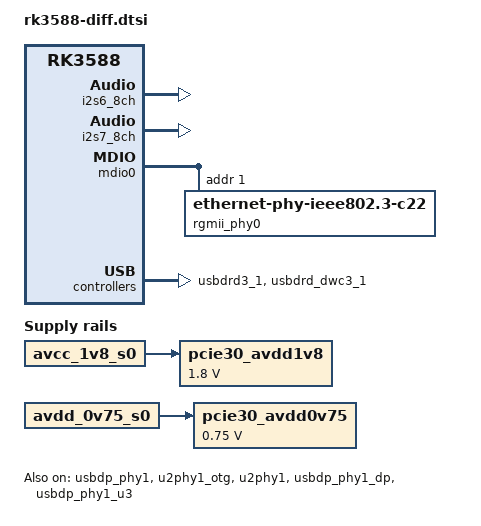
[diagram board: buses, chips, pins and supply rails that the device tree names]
// SPDX-License-Identifier: (GPL-2.0+ OR MIT)
/*
 * Copyright (c) 2020 Rockchip Electronics Co., Ltd.
 */

/*
 * fork from arch/arm64/boot/dts/rockchip/rk3588-firefly-port.dtsi
 */

/ {
	vcc_hub3_reset: vcc-hub3-reset-regulator {
		compatible = "regulator-fixed";
		regulator-name = "vcc_hub3_reset";
		regulator-always-on;
		enable-active-high;
		status = "disabled";
		gpio = <&pca9555 PCA_IO0_6 GPIO_ACTIVE_HIGH>;  //PCA_IO 06
	};

	vcc5v0_host3: vcc5v0-host3 {
		compatible = "regulator-fixed";
		regulator-name = "vcc5v0_host3";
		regulator-boot-on;
		regulator-always-on;
		regulator-min-microvolt = <5000000>;
		regulator-max-microvolt = <5000000>;
		enable-active-high;
		gpio = <&pca9555 PCA_IO0_7 GPIO_ACTIVE_HIGH>;  //PCA_IO 07
		vin-supply = <&vcc5v0_usb>;
		status = "disabled";
	};

	vcc_sata_pwr_en: vcc-sata-pwr-en-regulator {
		compatible = "regulator-fixed";
		regulator-name = "vcc_sata_pwr_en";
		regulator-boot-on;
		regulator-always-on;
		enable-active-high;
		status = "disabled";
		gpio = <&pca9555 PCA_IO1_2 GPIO_ACTIVE_HIGH>;  //PCA_IO 12
	};

	vcc_fan_pwr_en: vcc-fan-pwr-en-regulator {
		compatible = "regulator-fixed";
		regulator-name = "vcc_fan_pwr_en";
		regulator-boot-on;
		regulator-always-on;
		enable-active-high;
		status = "disabled";
		gpio = <&pca9555 PCA_IO1_3 GPIO_ACTIVE_HIGH>;  //PCA_IO 13
	};

	vcc_sdcard_pwr_en: vcc-sdcard-pwr-en-regulator {
		compatible = "regulator-fixed";
		regulator-name = "vcc_sdcard_pwr_en";
		regulator-boot-on;
		regulator-always-on;
		enable-active-high;
		gpio = <&pca9555 PCA_IO1_5 GPIO_ACTIVE_HIGH>;  //PCA_IO 15
		status = "disabled";
	};

	vcc3v3_pcie30: vcc3v3-pcie30 {
		compatible = "regulator-fixed";
		regulator-name = "vcc3v3_pcie30";
		regulator-min-microvolt = <3300000>;
		regulator-max-microvolt = <3300000>;
		enable-active-high;
		gpios = <&gpio2 RK_PC5 GPIO_ACTIVE_HIGH>;
		startup-delay-us = <5000>;
		vin-supply = <&vcc12v_dcin>;
		status = "disabled";
	};

	pcie30_avdd1v8: pcie30-avdd1v8 {
		compatible = "regulator-fixed";
		regulator-name = "pcie30_avdd1v8";
		regulator-boot-on;
		regulator-always-on;
		regulator-min-microvolt = <1800000>;
		regulator-max-microvolt = <1800000>;
		vin-supply = <&avcc_1v8_s0>;
	};

	pcie30_avdd0v75: pcie30-avdd0v75 {
		compatible = "regulator-fixed";
		regulator-name = "pcie30_avdd0v75";
		regulator-boot-on;
		regulator-always-on;
		regulator-min-microvolt = <750000>;
		regulator-max-microvolt = <750000>;
		vin-supply = <&avdd_0v75_s0>;
	};

	hdmi1_sound: hdmi1-sound {
		status = "disabled";
		compatible = "rockchip,hdmi";
		rockchip,mclk-fs = <128>;
		rockchip,card-name = "rockchip-hdmi1";
		rockchip,cpu = <&i2s6_8ch>;
		rockchip,codec = <&hdmi1>;
		rockchip,jack-det;
	};
	
	dp1_sound: dp1-sound {
		status = "disabled";
		compatible = "rockchip,hdmi";
		rockchip,card-name= "rockchip,dp1";
		rockchip,mclk-fs = <512>;
		rockchip,cpu = <&spdif_tx5>;
		rockchip,codec = <&dp1 1>;
		rockchip,jack-det;
	};
	
	wireless_bluetooth: wireless-bluetooth {
		compatible = "bluetooth-platdata";
		clocks = <&hym8563>;
		clock-names = "ext_clock";
		uart_rts_gpios = <&gpio1 RK_PA2 GPIO_ACTIVE_LOW>;
		pinctrl-names = "default", "rts_gpio";
		pinctrl-0 = <&uart6m1_rtsn>,  <&bt_reset_gpio>, <&bt_wake_gpio>, <&bt_irq_gpio>;
		pinctrl-1 = <&uart6_gpios>;
		BT,reset_gpio    = <&gpio0 RK_PC6 GPIO_ACTIVE_HIGH>;
		BT,wake_gpio     = <&gpio0 RK_PC5 GPIO_ACTIVE_HIGH>;
		BT,wake_host_irq = <&gpio0 RK_PA0 GPIO_ACTIVE_HIGH>;
		status = "disabled";
	};

	wireless_wlan: wireless-wlan {
		compatible = "wlan-platdata";
		wifi_chip_type = "ap6275p";
		pinctrl-names = "default";
		pinctrl-0 = <&wifi_host_wake_irq>, <&wifi_poweren_gpio>;
		WIFI,host_wake_irq = <&gpio0 RK_PB2 GPIO_ACTIVE_HIGH>;
		WIFI,poweren_gpio = <&gpio0 RK_PC4 GPIO_ACTIVE_HIGH>;
		status = "disabled";
	};

	/* If hdmirx node is disabled, delete the reserved-memory node here. */
	reserved-memory {
		#address-cells = <2>;
		#size-cells = <2>;
		ranges;

		/* Reserve 256MB memory for hdmirx-controller@fdee0000 */
		cma {
			compatible = "shared-dma-pool";
			reusable;
			reg = <0x0 (256 * 0x100000) 0x0 (256 * 0x100000)>;
			linux,cma-default;
		};
	};

	hdmiin_dc: hdmiin-dc {
			compatible = "rockchip,dummy-codec";
			#sound-dai-cells = <0>;
	};

	hdmiin_sound: hdmiin-sound {
		compatible = "simple-audio-card";
		simple-audio-card,format = "i2s";
		simple-audio-card,name = "rockchip,hdmiin";
		simple-audio-card,bitclock-master = <&dailink0_master>;
		simple-audio-card,frame-master = <&dailink0_master>;
		status = "disabled";
		simple-audio-card,cpu {
			sound-dai = <&i2s7_8ch>;
		};
		dailink0_master: simple-audio-card,codec {
			sound-dai = <&hdmiin_dc>;
		};
	};

};

&i2s6_8ch {
	status = "okay";
};

&i2s7_8ch {
	status = "okay";
};

/* Should work with at least 128MB cma reserved above. */
&hdmirx_ctrler {
	status = "disabled";
	//memory-region = <&hdmirx>;
	pinctrl-names = "default";
	pinctrl-0 = <&hdmim1_rx_cec &hdmim1_rx_hpdin &hdmim1_rx_scl &hdmim1_rx_sda &hdmirx_det>;
	/* Effective level used to trigger HPD: 0-low, 1-high */
	hpd-trigger-level = <1>;
	hdmirx-det-gpios = <&gpio1 RK_PD5 GPIO_ACTIVE_LOW>;
};

&usbdp_phy1 {
	rockchip,dp-lane-mux = <2 3>;
	status = "disabled";
};

&gmac0 {
	/* Use rgmii-rxid mode to disable rx delay inside Soc */
	phy-mode = "rgmii-rxid";
	clock_in_out = "output";

	snps,reset-gpio = <&gpio3 RK_PC7 GPIO_ACTIVE_LOW>;
	snps,reset-active-low;
	/* Reset time is 20ms, 100ms for rtl8211f */
	snps,reset-delays-us = <0 20000 100000>;

	pinctrl-names = "default";
	pinctrl-0 = <&gmac0_miim
			&gmac0_tx_bus2
			&gmac0_rx_bus2
			&gmac0_rgmii_clk
			&gmac0_rgmii_bus>;

	tx_delay = <0x45>;
	//rx_delay = <0x4a>;

	phy-handle = <&rgmii_phy0>;
	status = "disbaled";
};

&mdio0 {
	rgmii_phy0: phy@1 {
		compatible = "ethernet-phy-ieee802.3-c22";
		reg = <0x1>;
	};
};

&u2phy1_otg { 
	phy-supply = <&vcc5v0_host>; 
}; 

&u2phy1 {
	status = "okay";
};

&u2phy1_otg {
	status = "okay";
};

&usbdp_phy1 {
	status = "okay";
};

&usbdp_phy1_dp {
	status = "okay";
};

&usbdp_phy1_u3 {
	status = "okay";
};

&usbdrd3_1 {
	status = "okay";
};

&usbdrd_dwc3_1 {
	status = "okay";
};

&i2c6 {
	status = "disabled";
	pinctrl-names = "default";
	pinctrl-0 = <&i2c6m0_xfer>;
	
	pca9555: gpio@21 { 
		compatible = "nxp,pca9555"; 
		reg = <0x21>; 
		gpio-controller; 
		#gpio-cells = <2>; 
		gpio-group-num = <200>; 
		status = "disabled";
	};

	hym8563: hym8563@51 {
		compatible = "haoyu,hym8563";
		reg = <0x51>;
		#clock-cells = <0>;
		clock-frequency = <32768>;
		clock-output-names = "hym8563";
		pinctrl-names = "default";
		pinctrl-0 = <&hym8563_int>;
		interrupt-parent = <&gpio0>;
		interrupts = <RK_PB0 IRQ_TYPE_LEVEL_LOW>;
		wakeup-source;
		status = "disabled";
	};

	usbc0: fusb302@22 {
		compatible = "fcs,fusb302";
		reg = <0x22>;
		interrupt-parent = <&gpio0>;
		interrupts = <RK_PD3 IRQ_TYPE_LEVEL_LOW>;
		pinctrl-names = "default";
		pinctrl-0 = <&usbc0_int>;
		vbus-supply = <&vbus5v0_typec_pwr_en>;
		status = "disabled";

		ports {
			#address-cells = <1>;
			#size-cells = <0>;

			port@0 {
				reg = <0>;
				usbc0_role_sw: endpoint@0 {
					remote-endpoint = <&dwc3_0_role_switch>;
				};
			};
		};

		usb_con: connector {
			compatible = "usb-c-connector";
			label = "USB-C";
			data-role = "dual";
			power-role = "dual";
			try-power-role = "sink";
			op-sink-microwatt = <1000000>;
			sink-pdos =
				<PDO_FIXED(5000, 1000, PDO_FIXED_USB_COMM)>;
			source-pdos =
				<PDO_FIXED(5000, 3000, PDO_FIXED_USB_COMM)>;

			altmodes {
				#address-cells = <1>;
				#size-cells = <0>;

				altmode@0 {
					reg = <0>;
					svid = <0xff01>;
					vdo = <0xffffffff>;
				};
			};

			ports {
				#address-cells = <1>;
				#size-cells = <0>;

				port@0 {
					reg = <0>;
					usbc0_orien_sw: endpoint {
						remote-endpoint = <&usbdp_phy0_orientation_switch>;
					};
				};

				port@1 {
					reg = <1>;
					dp_altmode_mux: endpoint {
						remote-endpoint = <&usbdp_phy0_dp_altmode_mux>;
					};
				};
			};
		};
	};
};
